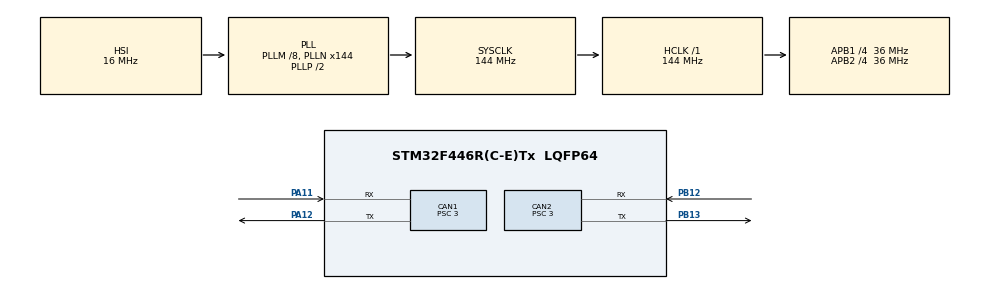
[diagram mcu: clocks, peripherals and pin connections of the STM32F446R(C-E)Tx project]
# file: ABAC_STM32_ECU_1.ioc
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CAN1.ABOM=ENABLE
CAN1.AWUM=ENABLE
CAN1.BS1=CAN_BS1_8TQ
CAN1.BS2=CAN_BS2_3TQ
CAN1.CalculateTimeQuantum=83.33333333333334
CAN1.Prescaler=3
CAN2.ABOM=ENABLE
CAN2.AWUM=ENABLE
CAN2.BS1=CAN_BS1_8TQ
CAN2.BS2=CAN_BS2_3TQ
CAN2.CalculateTimeQuantum=83.33333333333334
CAN2.Prescaler=3
FREERTOS.Tasks01=Main,0,128,task_1,Default,NULL,Dynamic,NULL,NULL
FREERTOS.configMAX_PRIORITIES=16
Mcu.Family=STM32F4
Mcu.Name=STM32F446R(C-E)Tx
Mcu.Package=LQFP64
NVIC.CAN1_RX0_IRQn=true\:5\:0\:false\:true\:true\:2\:true\:true
NVIC.CAN1_RX1_IRQn=true\:5\:0\:false\:true\:true\:3\:true\:true
NVIC.CAN1_SCE_IRQn=true\:5\:0\:false\:true\:true\:4\:true\:true
NVIC.CAN1_TX_IRQn=true\:5\:0\:false\:true\:true\:1\:true\:true
NVIC.CAN2_RX0_IRQn=true\:5\:0\:false\:true\:true\:6\:true\:true
NVIC.CAN2_RX1_IRQn=true\:5\:0\:false\:true\:true\:7\:true\:true
NVIC.CAN2_SCE_IRQn=true\:5\:0\:false\:true\:true\:8\:true\:true
NVIC.CAN2_TX_IRQn=true\:5\:0\:false\:true\:true\:5\:true\:true
NVIC.PriorityGroup=NVIC_PRIORITYGROUP_4
NVIC.TIM1_UP_TIM10_IRQn=true\:0\:0\:false\:false\:true\:false\:false
NVIC.TimeBase=TIM1_UP_TIM10_IRQn
NVIC.TimeBaseIP=TIM1
PA11.Mode=Master
PA11.Signal=CAN1_RX
PA12.Mode=Master
PA12.Signal=CAN1_TX
PB12.Mode=Slave
PB12.Signal=CAN2_RX
PB13.Mode=Slave
PB13.Signal=CAN2_TX
ProjectManager.HeapSize=0x200
ProjectManager.StackSize=0x400
ProjectManager.TargetToolchain=SW4STM32
RCC.AHBFreq_Value=144000000
RCC.APB1CLKDivider=RCC_HCLK_DIV4
RCC.APB1Freq_Value=36000000
RCC.APB1TimFreq_Value=72000000
RCC.APB2CLKDivider=RCC_HCLK_DIV4
RCC.APB2Freq_Value=36000000
RCC.APB2TimFreq_Value=72000000
RCC.CortexFreq_Value=144000000
RCC.HCLKFreq_Value=144000000
RCC.PLLM=8
RCC.PLLN=144
RCC.SYSCLKFreq_VALUE=144000000
RCC.SYSCLKSource=RCC_SYSCLKSOURCE_PLLCLK
RCC.USBFreq_Value=144000000
RCC.VCOOutputFreq_Value=288000000
VP_FREERTOS_VS_ENABLE.Mode=Enabled
VP_SYS_VS_tim1.Mode=TIM1
board=custom

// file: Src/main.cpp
/**
  ******************************************************************************
  * @file           : main.c
  * @brief          : Main program body
  ******************************************************************************
  * This notice applies to any and all portions of this file
  * that are not between comment pairs USER CODE BEGIN and
  * USER CODE END. Other portions of this file, whether
  * inserted by the user or by software development tools
  * are owned by their respective copyright owners.
  *
  * Copyright (c) 2018 STMicroelectronics International N.V.
  * All rights reserved.
  *
  * Redistribution and use in source and binary forms, with or without
  * modification, are permitted, provided that the following conditions are met:
  *
  * 1. Redistribution of source code must retain the above copyright notice,
  *    this list of conditions and the following disclaimer.
  * 2. Redistributions in binary form must reproduce the above copyright notice,
  *    this list of conditions and the following disclaimer in the documentation
  *    and/or other materials provided with the distribution.
  * 3. Neither the name of STMicroelectronics nor the names of other
  *    contributors to this software may be used to endorse or promote products
  *    derived from this software without specific written permission.
  * 4. This software, including modifications and/or derivative works of this
  *    software, must execute solely and exclusively on microcontroller or
  *    microprocessor devices manufactured by or for STMicroelectronics.
  * 5. Redistribution and use of this software other than as permitted under
  *    this license is void and will automatically terminate your rights under
  *    this license.
  *
  * THIS SOFTWARE IS PROVIDED BY STMICROELECTRONICS AND CONTRIBUTORS "AS IS"
  * AND ANY EXPRESS, IMPLIED OR STATUTORY WARRANTIES, INCLUDING, BUT NOT
  * LIMITED TO, THE IMPLIED WARRANTIES OF MERCHANTABILITY, FITNESS FOR A
  * PARTICULAR PURPOSE AND NON-INFRINGEMENT OF THIRD PARTY INTELLECTUAL PROPERTY
  * RIGHTS ARE DISCLAIMED TO THE FULLEST EXTENT PERMITTED BY LAW. IN NO EVENT
  * SHALL STMICROELECTRONICS OR CONTRIBUTORS BE LIABLE FOR ANY DIRECT, INDIRECT,
  * INCIDENTAL, SPECIAL, EXEMPLARY, OR CONSEQUENTIAL DAMAGES (INCLUDING, BUT NOT
  * LIMITED TO, PROCUREMENT OF SUBSTITUTE GOODS OR SERVICES; LOSS OF USE, DATA,
  * OR PROFITS; OR BUSINESS INTERRUPTION) HOWEVER CAUSED AND ON ANY THEORY OF
  * LIABILITY, WHETHER IN CONTRACT, STRICT LIABILITY, OR TORT (INCLUDING
  * NEGLIGENCE OR OTHERWISE) ARISING IN ANY WAY OUT OF THE USE OF THIS SOFTWARE,
  * EVEN IF ADVISED OF THE POSSIBILITY OF SUCH DAMAGE.
  *
  ******************************************************************************
  */
#include "main.h"
#include "stm32f4xx_hal.h"
#include "cmsis_os.h"

/* USER CODE BEGIN Includes */
#include "ABAC_Com_20181007_dbc.h"
#include "canExtern.h"
#include "Attribute.h"

const Attribute resourceType_diagnosisData(0x6F47, 0x2092, RESOURCE);
const Attribute resourceType_parameters(0x6F47, 0x166E, RESOURCE);

#ifdef __cplusplus
extern "C" {
#endif
/* USER CODE END Includes */

CAN_HandleTypeDef hcan1;
CAN_HandleTypeDef hcan2;

osThreadId Thread_Main_Handle;
osThreadId Thread_Nonce_Gen_Handle;

/* USER CODE BEGIN PV */
/* Private variables ---------------------------------------------------------*/

CAN_TxHeaderTypeDef TxCan1Header;
CAN_RxHeaderTypeDef RxCan1Header;

CAN_TxHeaderTypeDef TxCan2Header;
CAN_RxHeaderTypeDef RxCan2Header;

uint8_t RxCan1Data[8];

uint8_t TxCan2Data[8];
uint8_t RxCan2Data[8];
uint32_t TxCan2Mailbox;

bool timerStart = false;
bool lock = false;

uint16_t newNonce = 0;
uint16_t oldNonce = 0;

/* USER CODE END PV */

void SystemClock_Config(void);
static void MX_GPIO_Init(void);
static void MX_CAN1_Init(void);
static void MX_CAN2_Init(void);
void Thread_Main(void const * argument);
void Thread_Nonce_Gen(void const * argument);
static void MX_NVIC_Init(void);

/* USER CODE BEGIN PFP */
/* Private function prototypes -----------------------------------------------*/
static void CAN_Config(void);

/* USER CODE END PFP */

/* USER CODE BEGIN 0 */
#ifdef __cplusplus
}
#endif
bool send(CMessage<uint8_t> pMsgObj_,CAN_HandleTypeDef pChannel_);
bool send(CMessage<uint16_t> pMsgObj_,CAN_HandleTypeDef pChannel_);
bool send(CMessage<uint32_t> pMsgObj_,CAN_HandleTypeDef pChannel_);
bool send(CMessage<uint64_t> pMsgObj_,CAN_HandleTypeDef pChannel_);
bool send(CAN_TxHeaderTypeDef pHeader_,uint8_t *pData_, CAN_HandleTypeDef pChannel_);

void attributeToFrame(Attribute pAttribute_, uint8_t *rOut_Frame_){
	rOut_Frame_[1] = pAttribute_.getCategory();
	rOut_Frame_[2] = LOWBYTE(pAttribute_.getID());
	rOut_Frame_[3] = HIGHBYTE(pAttribute_.getID());
	rOut_Frame_[4] = LOWBYTE(pAttribute_.getValue());
	rOut_Frame_[5] = HIGHBYTE(pAttribute_.getValue());
}
Attribute frameToAttribute(uint8_t *pFrame_){
	Attribute tmpAttribute;
	AttributeCategory Type = (AttributeCategory)pFrame_[1];
	uint16_t AttributeID;
	uint16_t AttributeValue;
	AttributeID = ((pFrame_[3] << 8) | pFrame_[2]);
	AttributeValue = ((pFrame_[5] << 8) | pFrame_[4]);
	tmpAttribute.set(AttributeID,AttributeValue,Type);
	return tmpAttribute;
}
void sendNonce(Attribute pAttribute_){
	uint8_t frame[8];
	frame[0] = NONCE;
	attributeToFrame(pAttribute_,frame);
	ECU1_Send_Nonce.Merge(frame);
	ECU1_Send_Nonce_ABAC_Nonce.setValues(oldNonce);
	ECU1_Send_Nonce.push<uint16_t>(&ECU1_Send_Nonce_ABAC_Nonce);
	send(ECU1_Send_Nonce,hcan1);
}

/* USER CODE END 0 */

int main(void)
{

  /* MCU Configuration----------------------------------------------------------*/

  /* Reset of all peripherals, Initializes the Flash interface and the Systick. */
  HAL_Init();

  /* Configure the system clock */
  SystemClock_Config();

  /* Initialize all configured peripherals */
  MX_GPIO_Init();
  MX_CAN1_Init();
  MX_CAN2_Init();

  /* Initialize interrupts */
  MX_NVIC_Init();
  /* USER CODE BEGIN 2 */
  CAN_Config();
  /* USER CODE END 2 */

  /* Create the thread(s) */
  /* definition and creation of Main */
  osThreadDef(Main, Thread_Main, osPriorityNormal, 0, 128);
  Thread_Main_Handle = osThreadCreate(osThread(Main), NULL);

  osThreadDef(Nonce, Thread_Nonce_Gen, osPriorityHigh, 0, 128);
  Thread_Nonce_Gen_Handle = osThreadCreate(osThread(Nonce), NULL);

  /* Start scheduler */
  osKernelStart();

  /* We should never get here as control is now taken by the scheduler */

  /* Infinite loop */
  while (1)
  {

  }

}

void SystemClock_Config(void)
{

  RCC_OscInitTypeDef RCC_OscInitStruct;
  RCC_ClkInitTypeDef RCC_ClkInitStruct;

    /**Configure the main internal regulator output voltage
    */
  __HAL_RCC_PWR_CLK_ENABLE();

  __HAL_PWR_VOLTAGESCALING_CONFIG(PWR_REGULATOR_VOLTAGE_SCALE1);

    /**Initializes the CPU, AHB and APB busses clocks
    */
  RCC_OscInitStruct.OscillatorType = RCC_OSCILLATORTYPE_HSI;
  RCC_OscInitStruct.HSIState = RCC_HSI_ON;
  RCC_OscInitStruct.HSICalibrationValue = 16;
  RCC_OscInitStruct.PLL.PLLState = RCC_PLL_ON;
  RCC_OscInitStruct.PLL.PLLSource = RCC_PLLSOURCE_HSI;
  RCC_OscInitStruct.PLL.PLLM = 8;
  RCC_OscInitStruct.PLL.PLLN = 144;
  RCC_OscInitStruct.PLL.PLLP = RCC_PLLP_DIV2;
  RCC_OscInitStruct.PLL.PLLQ = 2;
  RCC_OscInitStruct.PLL.PLLR = 2;
  if (HAL_RCC_OscConfig(&RCC_OscInitStruct) != HAL_OK)
  {
    _Error_Handler(__FILE__, __LINE__);
  }

    /**Initializes the CPU, AHB and APB busses clocks
    */
  RCC_ClkInitStruct.ClockType = RCC_CLOCKTYPE_HCLK|RCC_CLOCKTYPE_SYSCLK
                              |RCC_CLOCKTYPE_PCLK1|RCC_CLOCKTYPE_PCLK2;
  RCC_ClkInitStruct.SYSCLKSource = RCC_SYSCLKSOURCE_PLLCLK;
  RCC_ClkInitStruct.AHBCLKDivider = RCC_SYSCLK_DIV1;
  RCC_ClkInitStruct.APB1CLKDivider = RCC_HCLK_DIV4;
  RCC_ClkInitStruct.APB2CLKDivider = RCC_HCLK_DIV4;

  if (HAL_RCC_ClockConfig(&RCC_ClkInitStruct, FLASH_LATENCY_4) != HAL_OK)
  {
    _Error_Handler(__FILE__, __LINE__);
  }

    /**Configure the Systick interrupt time
    */
  HAL_SYSTICK_Config(HAL_RCC_GetHCLKFreq()/1000);

    /**Configure the Systick
    */
  HAL_SYSTICK_CLKSourceConfig(SYSTICK_CLKSOURCE_HCLK);

  /* SysTick_IRQn interrupt configuration */
  HAL_NVIC_SetPriority(SysTick_IRQn, 15, 0);
}

/**
  * @brief NVIC Configuration.
  * @retval None
  */
static void MX_NVIC_Init(void)
{
  /* CAN1_TX_IRQn interrupt configuration */
  HAL_NVIC_SetPriority(CAN1_TX_IRQn, 5, 0);
  HAL_NVIC_EnableIRQ(CAN1_TX_IRQn);
  /* CAN1_RX0_IRQn interrupt configuration */
  HAL_NVIC_SetPriority(CAN1_RX0_IRQn, 5, 0);
  HAL_NVIC_EnableIRQ(CAN1_RX0_IRQn);
  /* CAN1_RX1_IRQn interrupt configuration */
  HAL_NVIC_SetPriority(CAN1_RX1_IRQn, 5, 0);
  HAL_NVIC_EnableIRQ(CAN1_RX1_IRQn);
  /* CAN1_SCE_IRQn interrupt configuration */
  HAL_NVIC_SetPriority(CAN1_SCE_IRQn, 5, 0);
  HAL_NVIC_EnableIRQ(CAN1_SCE_IRQn);
  /* CAN2_TX_IRQn interrupt configuration */
  HAL_NVIC_SetPriority(CAN2_TX_IRQn, 5, 0);
  HAL_NVIC_EnableIRQ(CAN2_TX_IRQn);
  /* CAN2_RX0_IRQn interrupt configuration */
  HAL_NVIC_SetPriority(CAN2_RX0_IRQn, 5, 0);
  HAL_NVIC_EnableIRQ(CAN2_RX0_IRQn);
  /* CAN2_RX1_IRQn interrupt configuration */
  HAL_NVIC_SetPriority(CAN2_RX1_IRQn, 5, 0);
  HAL_NVIC_EnableIRQ(CAN2_RX1_IRQn);
  /* CAN2_SCE_IRQn interrupt configuration */
  HAL_NVIC_SetPriority(CAN2_SCE_IRQn, 5, 0);
  HAL_NVIC_EnableIRQ(CAN2_SCE_IRQn);
}

/* CAN1 init function */
static void MX_CAN1_Init(void)
{

  hcan1.Instance = CAN1;
  hcan1.Init.Prescaler = 3;
  hcan1.Init.Mode = CAN_MODE_NORMAL;
  hcan1.Init.SyncJumpWidth = CAN_SJW_1TQ;
  hcan1.Init.TimeSeg1 = CAN_BS1_8TQ;
  hcan1.Init.TimeSeg2 = CAN_BS2_3TQ;
  hcan1.Init.TimeTriggeredMode = DISABLE;
  hcan1.Init.AutoBusOff = ENABLE;
  hcan1.Init.AutoWakeUp = ENABLE;
  hcan1.Init.AutoRetransmission = DISABLE;
  hcan1.Init.ReceiveFifoLocked = DISABLE;
  hcan1.Init.TransmitFifoPriority = DISABLE;
  if (HAL_CAN_Init(&hcan1) != HAL_OK)
  {
    _Error_Handler(__FILE__, __LINE__);
  }

}

/* CAN2 init function */
static void MX_CAN2_Init(void)
{

  hcan2.Instance = CAN2;
  hcan2.Init.Prescaler = 3;
  hcan2.Init.Mode = CAN_MODE_NORMAL;
  hcan2.Init.SyncJumpWidth = CAN_SJW_1TQ;
  hcan2.Init.TimeSeg1 = CAN_BS1_8TQ;
  hcan2.Init.TimeSeg2 = CAN_BS2_3TQ;
  hcan2.Init.TimeTriggeredMode = DISABLE;
  hcan2.Init.AutoBusOff = ENABLE;
  hcan2.Init.AutoWakeUp = ENABLE;
  hcan2.Init.AutoRetransmission = DISABLE;
  hcan2.Init.ReceiveFifoLocked = DISABLE;
  hcan2.Init.TransmitFifoPriority = DISABLE;
  if (HAL_CAN_Init(&hcan2) != HAL_OK)
  {
    _Error_Handler(__FILE__, __LINE__);
  }

}

/** Pinout Configuration
*/
static void MX_GPIO_Init(void)
{

  /* GPIO Ports Clock Enable */
  __HAL_RCC_GPIOB_CLK_ENABLE();
  __HAL_RCC_GPIOA_CLK_ENABLE();

}

/* USER CODE BEGIN 4 */
static void CAN_Config(void) {
	CAN_FilterTypeDef sFilterConfig;

	/*##-2- Configure the CAN Filter ###########################################*/
	sFilterConfig.FilterBank = 0;
	sFilterConfig.FilterMode = CAN_FILTERMODE_IDMASK;
	sFilterConfig.FilterScale = CAN_FILTERSCALE_32BIT;
	sFilterConfig.FilterIdHigh = 0x0000;
	sFilterConfig.FilterIdLow = 0x0000;
	sFilterConfig.FilterMaskIdHigh = 0x0000;
	sFilterConfig.FilterMaskIdLow = 0x0000;
	sFilterConfig.FilterFIFOAssignment = CAN_RX_FIFO0;
	sFilterConfig.FilterActivation = ENABLE;
	sFilterConfig.SlaveStartFilterBank = 14;

	if (HAL_CAN_ConfigFilter(&hcan1, &sFilterConfig) != HAL_OK) {
		/* Filter configuration Error */
		Error_Handler();
	}

	/*##-2- Configure the CAN Filter ###########################################*/
	sFilterConfig.FilterBank = 14;
	sFilterConfig.FilterMode = CAN_FILTERMODE_IDMASK;
	sFilterConfig.FilterScale = CAN_FILTERSCALE_32BIT;
	sFilterConfig.FilterIdHigh = 0x0000;
	sFilterConfig.FilterIdLow = 0x0000;
	sFilterConfig.FilterMaskIdHigh = 0x0000;
	sFilterConfig.FilterMaskIdLow = 0x0000;
	sFilterConfig.FilterFIFOAssignment = CAN_RX_FIFO1;
	sFilterConfig.FilterActivation = ENABLE;
	sFilterConfig.SlaveStartFilterBank = 14;

	if (HAL_CAN_ConfigFilter(&hcan2, &sFilterConfig) != HAL_OK) {
		/* Filter configuration Error */
		Error_Handler();
	}

	/*##-3- Start the CAN peripheral ###########################################*/
	if (HAL_CAN_Start(&hcan1) != HAL_OK) {
		/* Start Error */
		Error_Handler();
	}

	if (HAL_CAN_Start(&hcan2) != HAL_OK) {
		/* Start Error */
		Error_Handler();
	}
	/*##-4- Activate CAN RX notification #######################################*/
	if (HAL_CAN_ActivateNotification(&hcan1, CAN_IT_RX_FIFO0_MSG_PENDING)
			!= HAL_OK) {
		/* Notification Error */
		Error_Handler();
	}
	if (HAL_CAN_ActivateNotification(&hcan2, CAN_IT_RX_FIFO1_MSG_PENDING)
			!= HAL_OK) {
		/* Notification Error */
		Error_Handler();
	}

}

/**
 * @brief  Rx Fifo 0 message pending callback
 * @param  hcan: pointer to a CAN_HandleTypeDef structure that contains
 *         the configuration information for the specified CAN.
 * @retval None
 */
void HAL_CAN_RxFifo0MsgPendingCallback(CAN_HandleTypeDef *hcan) {
	/* Get RX message */
	if (HAL_CAN_GetRxMessage(hcan, CAN_RX_FIFO0, &RxCan1Header, RxCan1Data)
			!= HAL_OK) {
		/* Reception Error */
		Error_Handler();
	}

	/* Display LEDx */
	if (RxCan1Header.StdId == PDP_ABAC_Get_Nonce.getID()) {
		Attribute tmpAttribute;
		PDP_ABAC_Get_Nonce.Merge(RxCan1Data);
		tmpAttribute = frameToAttribute(PDP_ABAC_Get_Nonce.getData());
		if(tmpAttribute == resourceType_diagnosisData){
			oldNonce = newNonce;
			sendNonce(tmpAttribute);
		}
	}
	if (RxCan1Header.StdId == PDP_ABAC_Unlock_ResourceMsg.getID()) {
		Attribute tmpAttribute;
		uint16_t key;
		tmpAttribute = frameToAttribute(PDP_ABAC_Get_Nonce.getData());
		PDP_ABAC_Unlock_ResourceMsg.Merge(RxCan1Data);
		pullPDP_ABAC_Unlock_ResourceMsg();
		key = PDP_ABAC_Unlock_ResourceMsg_ABAC_Key.getRawValue();
		if((key == (oldNonce ^ KEY_ECU)) && tmpAttribute == resourceType_diagnosisData) {
			lock = false;
			timerStart = true;
			ECU1_ABAC_ECU_Resp_ABAC_Attribute_ID.setValues(tmpAttribute.getID());
			ECU1_ABAC_ECU_Resp_ABAC_Attribute_Value.setValues(tmpAttribute.getValue());
			ECU1_ABAC_ECU_Resp_ABAC_ResourceResp.setValues(1);
			pushECU1_ABAC_ECU_Resp();
			send(ECU1_ABAC_ECU_Resp,hcan1);
			oldNonce = newNonce;
		}
		else {
			lock = true;
			timerStart = false;
			ECU1_ABAC_ECU_Resp_ABAC_Attribute_ID.setValues(tmpAttribute.getID());
			ECU1_ABAC_ECU_Resp_ABAC_Attribute_Value.setValues(tmpAttribute.getValue());
			ECU1_ABAC_ECU_Resp_ABAC_ResourceResp.setValues(0);
			pushECU1_ABAC_ECU_Resp();
			send(ECU1_ABAC_ECU_Resp,hcan1);
		}

	}
	if (RxCan1Header.StdId == PDP_ABAC_Lock_ResourceMsg.getID()) {
		lock = true;
	}

}

void HAL_CAN_RxFifo1MsgPendingCallback(CAN_HandleTypeDef *hcan) {
	uint8_t Test = 0;
	if (HAL_CAN_GetRxMessage(hcan, CAN_RX_FIFO1, &RxCan2Header, RxCan2Data)
			!= HAL_OK) {
		/* Reception Error */
		Error_Handler();
	}

	/* Display LEDx */
}

bool send(CMessage<uint8_t> pMsgObj_,CAN_HandleTypeDef pChannel_){
	CAN_TxHeaderTypeDef TxCan1Header;
	uint32_t TxCan1Mailbox;
	TxCan1Header.RTR = CAN_RTR_DATA;
	TxCan1Header.IDE = CAN_ID_STD;
	TxCan1Header.TransmitGlobalTime = DISABLE;
	TxCan1Header.StdId = pMsgObj_.getID();
	TxCan1Header.DLC = pMsgObj_.getDLC();
	if (HAL_CAN_AddTxMessage(&pChannel_, &TxCan1Header, pMsgObj_.getData(), &TxCan1Mailbox) != HAL_OK)
	{
	  /* Transmission request Error */
		return false;
	}
	return true;
}

bool send(CMessage<uint16_t> pMsgObj_,CAN_HandleTypeDef pChannel_){
	CAN_TxHeaderTypeDef TxCan1Header;
	uint32_t TxCan1Mailbox;
	TxCan1Header.RTR = CAN_RTR_DATA;
	TxCan1Header.IDE = CAN_ID_STD;
	TxCan1Header.TransmitGlobalTime = DISABLE;
	TxCan1Header.StdId = pMsgObj_.getID();
	TxCan1Header.DLC = pMsgObj_.getDLC();
	if (HAL_CAN_AddTxMessage(&pChannel_, &TxCan1Header, pMsgObj_.getData(), &TxCan1Mailbox) != HAL_OK)
	{
	  /* Transmission request Error */
		return false;
	}
	return true;
}

bool send(CMessage<uint32_t> pMsgObj_,CAN_HandleTypeDef pChannel_){
	CAN_TxHeaderTypeDef TxCan1Header;
	uint32_t TxCan1Mailbox;
	TxCan1Header.RTR = CAN_RTR_DATA;
	TxCan1Header.IDE = CAN_ID_STD;
	TxCan1Header.TransmitGlobalTime = DISABLE;
	TxCan1Header.StdId = pMsgObj_.getID();
	TxCan1Header.DLC = pMsgObj_.getDLC();
	if (HAL_CAN_AddTxMessage(&pChannel_, &TxCan1Header, pMsgObj_.getData(), &TxCan1Mailbox) != HAL_OK)
	{
	  /* Transmission request Error */
		return false;
	}
	return true;
}

bool send(CMessage<uint64_t> pMsgObj_,CAN_HandleTypeDef pChannel_){
	CAN_TxHeaderTypeDef TxCan1Header;
	uint32_t TxCan1Mailbox;
	TxCan1Header.RTR = CAN_RTR_DATA;
	TxCan1Header.IDE = CAN_ID_STD;
	TxCan1Header.TransmitGlobalTime = DISABLE;
	TxCan1Header.StdId = pMsgObj_.getID();
	TxCan1Header.DLC = pMsgObj_.getDLC();
	if (HAL_CAN_AddTxMessage(&pChannel_, &TxCan1Header, pMsgObj_.getData(), &TxCan1Mailbox) != HAL_OK)
	{
	  /* Transmission request Error */
		return false;
	}
	return true;
}

bool send(CAN_TxHeaderTypeDef pHeader_,uint8_t *pData_, CAN_HandleTypeDef pChannel_){
	CAN_TxHeaderTypeDef TxCan1Header;
	uint32_t TxCan1Mailbox;
	TxCan1Header.RTR = CAN_RTR_DATA;
	TxCan1Header.IDE = CAN_ID_STD;
	TxCan1Header.TransmitGlobalTime = DISABLE;
	TxCan1Header.StdId = pHeader_.StdId;
	TxCan1Header.DLC = pHeader_.DLC;
	if (HAL_CAN_AddTxMessage(&pChannel_, &TxCan1Header, pData_, &TxCan1Mailbox) != HAL_OK)
	{
	  /* Transmission request Error */
		return false;
	}
	return true;
}
/* USER CODE END 4 */

/* USER CODE BEGIN Header_Thread_Main */
/**
  * @brief  Function implementing the Thread_Main.
  * @param  argument: Not used
  * @retval None
  */
/* USER CODE END Header_Thread_Main */
void Thread_Main(void const * argument)
{

  /* USER CODE BEGIN 5 */
	CAN_TxHeaderTypeDef TxCan1Header;
	uint8_t TxCan1Data[8];
	uint32_t TxCan1Mailbox;

	TxCan1Header.StdId = 0x350;
	TxCan1Header.RTR = CAN_RTR_DATA;
	TxCan1Header.IDE = CAN_ID_STD;
	TxCan1Header.DLC = 1;
	TxCan1Header.TransmitGlobalTime = DISABLE;

	TxCan1Data[0] = 0xFF;

	/* Infinite loop */
	for (;;) {
		if (lock == true){
			timerStart = false;
			lock = false;
			TxCan1Data[0] = 0xFF;
		}
		if(timerStart == true)
		{
			TxCan1Data[0]++;
		}
        if (HAL_CAN_AddTxMessage(&hcan1, &TxCan1Header, TxCan1Data, &TxCan1Mailbox) != HAL_OK)
        {
          /* Transmission request Error */
          Error_Handler();
        }
		osDelay(100);
	}
  /* USER CODE END 5 */
}

void Thread_Nonce_Gen(void const * argument)
{

  /* USER CODE BEGIN 5 */
	newNonce = 0;
	/* Infinite loop */
	for (;;) {
		newNonce++;
		osDelay(1);
	}
  /* USER CODE END 5 */
}

void HAL_TIM_PeriodElapsedCallback(TIM_HandleTypeDef *htim)
{
  if (htim->Instance == TIM1) {
    HAL_IncTick();
  }
}

void _Error_Handler(char *file, int line)
{
  while(1)
  {
  }
}

/************************ (C) COPYRIGHT STMicroelectronics *****END OF FILE****/
